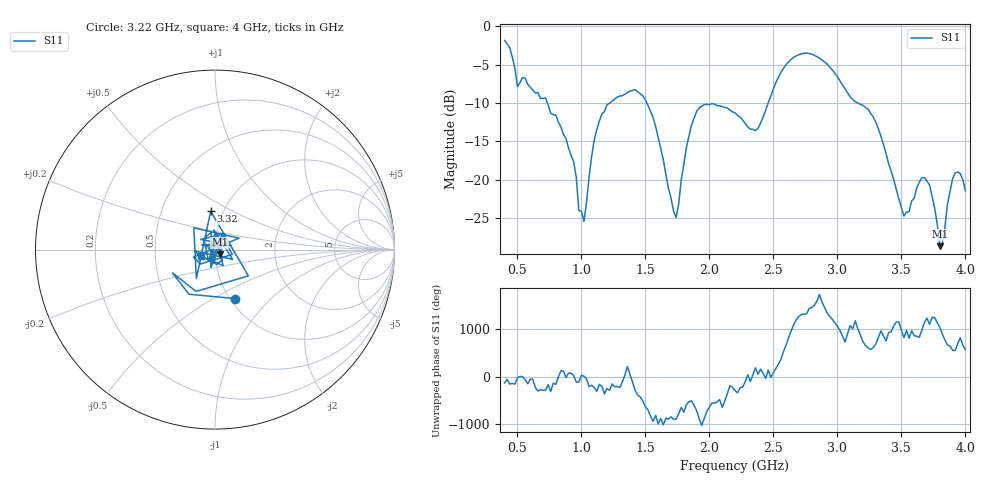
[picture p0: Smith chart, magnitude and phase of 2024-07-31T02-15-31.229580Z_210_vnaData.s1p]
!Created with skrf (http://scikit-rf.org).
# Hz S RI R 50.0
!freq ReS11 ImS11
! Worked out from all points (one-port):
!   181 points, 400 MHz to 4 GHz, reference 50 ohm
!   lowest |S11| = -28.7 dB at 3.8 GHz (marker M1), VSWR 1.08, Z = 52.6 - j2.71 ohm
!   |S11| at or under -10 dB: 734.2 MHz to 1.223 GHz (488.6 MHz wide, 49.9 % of centre); 1.512 GHz to 2.459 GHz (947.3 MHz wide, 47.7 % of centre); 3.157 GHz to end of sweep
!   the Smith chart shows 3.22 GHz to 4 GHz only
!   S11 on the Smith chart (normalised r, x): 3.22 GHz: 1.06, -0.63; 3.32 GHz: 0.87, +0.39; 4 GHz: 0.86, -0.06
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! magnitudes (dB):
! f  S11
! 400 MHz  -1.9
! 500 MHz  -7.8
! 720 MHz  -9.4
! 860 MHz  -14.1
! 940 MHz  -17.7
! 980 MHz  -24.0
! 1.02 GHz  -25.4
! 1.12 GHz  -13.5
! 1.3 GHz  -9.1
! 1.5 GHz  -9.6
! 1.72 GHz  -24.1
! 1.76 GHz  -23.2
! 1.82 GHz  -15.8
! 1.9 GHz  -11.1
! 2.2 GHz  -11.3
! 2.36 GHz  -13.6
! 2.66 GHz  -4.0
! 2.86 GHz  -4.1
! 3.1 GHz  -9.2
! 3.22 GHz  -10.6
! 3.32 GHz  -13.4
! 3.52 GHz  -24.7
! 3.56 GHz  -24.2
! 3.68 GHz  -19.8
! 3.72 GHz  -20.7
! 3.8 GHz  -28.7
! 3.92 GHz  -19.1
! 4 GHz  -21.5
